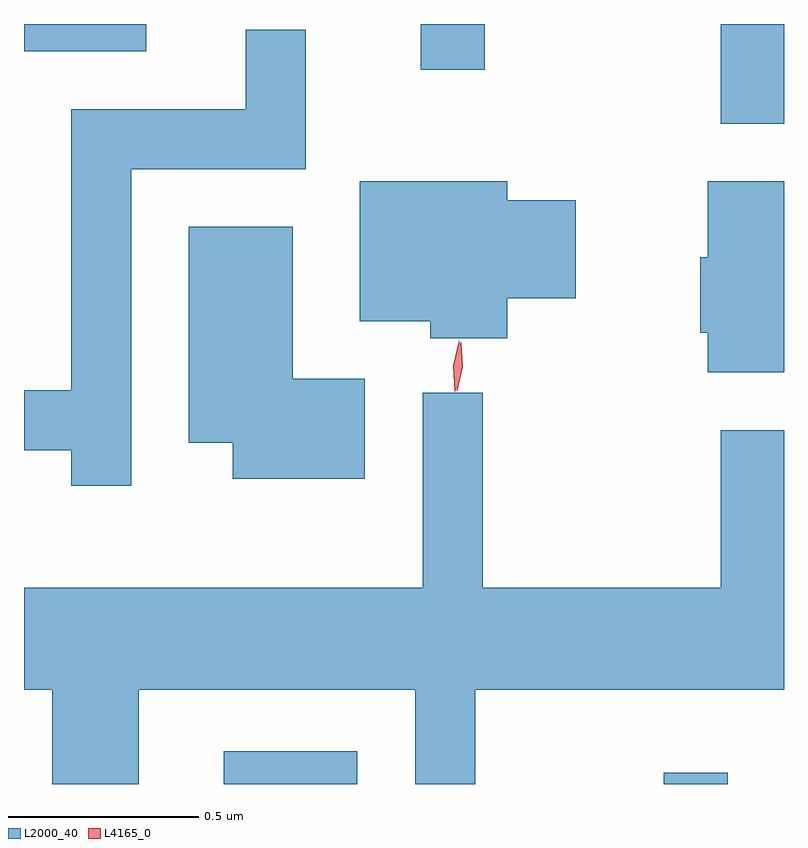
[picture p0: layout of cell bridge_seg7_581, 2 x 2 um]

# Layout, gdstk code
import gdstk
lib = gdstk.Library(unit=1e-6, precision=1e-09)
def R(c, l, rs):  # rectangles x0, y0, x1, y1
    for r in rs: c.add(gdstk.rectangle(r[:2], r[2:], *l))
def P(c, l, *ps):  # polygons
    for p in ps: c.add(gdstk.Polygon(p, *l))
L2000_40 = (2000, 40)
L4165_0 = (4165, 0)

bridge_seg7_581 = lib.new_cell('bridge_seg7_581')
R(bridge_seg7_581, L2000_40, [(977.323,1742.928,977.674,1743.014), (978.481,1742.928,978.649,1742.958), (978.631,1744.666,978.797,1744.928), (977.841,1744.808,978.009,1744.928), (976.797,1744.856,977.119,1744.928)])
P(bridge_seg7_581, L2000_40, [(977.079,1744.546),(977.539,1744.546),(977.539,1744.913),(977.381,1744.913),(977.381,1744.704),(976.921,1744.704),(976.921,1743.964),(976.797,1743.964),(976.797,1743.806),(976.921,1743.806),(976.921,1743.713),(977.079,1743.713)],
  [(978.069,1744.206),(978.249,1744.206),(978.249,1744.464),(978.069,1744.464),(978.069,1744.514),(977.681,1744.514),(977.681,1744.146),(977.866,1744.146),(977.866,1744.101),(978.069,1744.101)],
  [(978.797,1744.514),(978.596,1744.514),(978.596,1744.314),(978.576,1744.314),(978.576,1744.116),(978.596,1744.116),(978.596,1744.011),(978.797,1744.011)],
  [(977.694,1743.994),(977.504,1743.994),(977.504,1744.394),(977.231,1744.394),(977.231,1743.826),(977.346,1743.826),(977.346,1743.731),(977.694,1743.731)],
  [(976.797,1743.176),(976.871,1743.176),(976.871,1742.928),(977.099,1742.928),(977.099,1743.176),(977.826,1743.176),(977.826,1742.928),(977.984,1742.928),(977.984,1743.176),(978.797,1743.176),(978.797,1743.859),(978.631,1743.859),(978.631,1743.444),(978.004,1743.444),(978.004,1743.958),(977.846,1743.958),(977.846,1743.444),(976.797,1743.444)])
P(bridge_seg7_581, L4165_0, [(977.931,1743.96),(977.931,1743.961),(977.927,1744.029),(977.942,1744.096),(977.943,1744.096),(977.943,1744.096),(977.947,1744.028),(977.932,1743.961)],
  [(977.936,1743.963),(977.936,1743.963),(977.932,1744.028),(977.946,1744.09),(977.947,1744.09),(977.947,1744.09),(977.951,1744.026),(977.937,1743.963)])

lib.write_gds('bridge_seg7_581.gds')
